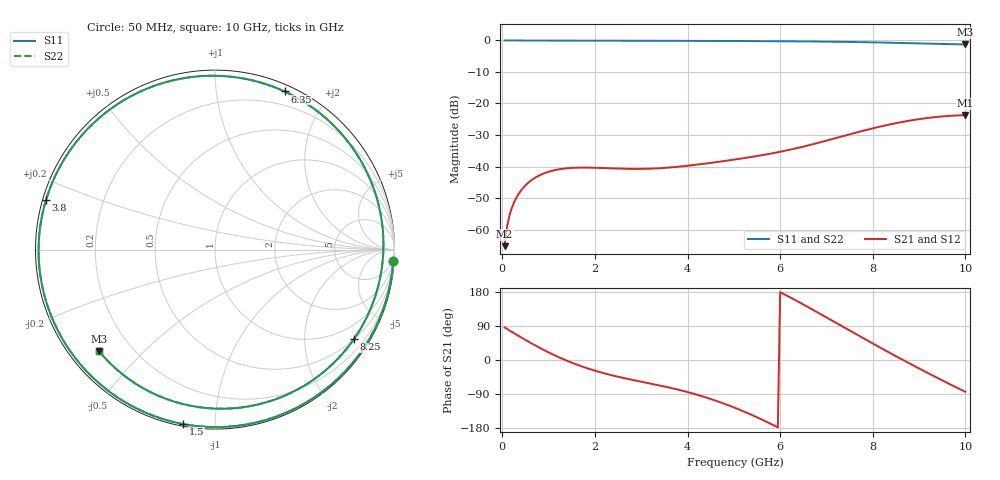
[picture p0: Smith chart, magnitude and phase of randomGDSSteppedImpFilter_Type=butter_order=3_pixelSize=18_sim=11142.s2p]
! freq	dB(S11)	phase(S11)	dB(S12)	phase(S12)
!  dB(S21)	phase(S21)	dB(S22)	phase(S22)
!S-par simulation data
#  GHz  S  DB  R 50
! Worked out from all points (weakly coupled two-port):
!   200 points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, 50 MHz to 10 GHz, reference 50 ohm
!   highest |S21| = -23.71 dB at 10 GHz (marker M1); lowest = -65.2 dB at 50 MHz (marker M2)
!   lowest |S11| = -1.3 dB at 10 GHz (marker M3), VSWR 13.20, Z = 4.32 - j18.7 ohm
!   |S11| at or under -10 dB: nowhere
!   |S22| runs from -1.3 to 0.0 dB; largest |S21 - S12| = 0
!   S11 on the Smith chart (normalised r, x): 50 MHz: 2, -30; 1.5 GHz: 0.01, -0.83; 3.8 GHz: 0.01, +0.14; 6.35 GHz: 0.06, +1.53; 8.25 GHz: 0.50, -3.32; 10 GHz: 0.09, -0.37
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0.05  -0.04 -3.8  -65.18 85.9  -65.18 85.9  -0.04 -3.8
0.1  -0.05 -7.6  -59.21 82.0  -59.21 82.0  -0.05 -7.6
0.2  -0.05 -15.1  -53.32 74.6  -53.32 74.6  -0.05 -15.1
0.45  -0.05 -33.5  -46.72 56.5  -46.72 56.5  -0.05 -33.5
0.95  -0.08 -67.8  -41.85 23.1  -41.85 23.1  -0.08 -67.8
1.5  -0.10 -100.4  -40.40 -7.1  -40.40 -7.1  -0.10 -100.4
1.75  -0.11 -113.5  -40.30 -18.3  -40.30 -18.3  -0.11 -113.5
2.55  -0.13 -149.6  -40.65 -45.6  -40.65 -45.6  -0.13 -149.6
3.4  -0.15 177.9  -40.50 -67.2  -40.50 -67.2  -0.15 177.9
3.8  -0.16 163.6  -40.02 -78.4  -40.02 -78.4  -0.16 163.6
5.05  -0.22 118.9  -37.68 -127.5  -37.68 -127.5  -0.22 118.9
5.75  -0.27 91.8  -36.00 -165.6  -36.00 -165.6  -0.27 91.8
6.35  -0.33 66.2  -34.18 156.5  -34.18 156.5  -0.33 66.2
6.7  -0.37 50.1  -32.93 133.0  -32.93 133.0  -0.37 50.1
7.5  -0.51 9.5  -29.77 77.8  -29.77 77.8  -0.51 9.5
7.9  -0.61 -12.6  -28.23 50.3  -28.23 50.3  -0.61 -12.6
8.25  -0.72 -32.9  -27.01 26.6  -27.01 26.6  -0.72 -32.9
8.35  -0.75 -38.8  -26.69 20.0  -26.69 20.0  -0.75 -38.7
8.75  -0.89 -62.7  -25.55 -6.3  -25.55 -6.3  -0.89 -62.7
9.15  -1.03 -87.0  -24.66 -31.9  -24.66 -31.9  -1.03 -87.0
9.55  -1.18 -111.5  -24.04 -56.9  -24.04 -56.9  -1.18 -111.4
10  -1.32 -138.8  -23.71 -84.1  -23.71 -84.1  -1.32 -138.8
